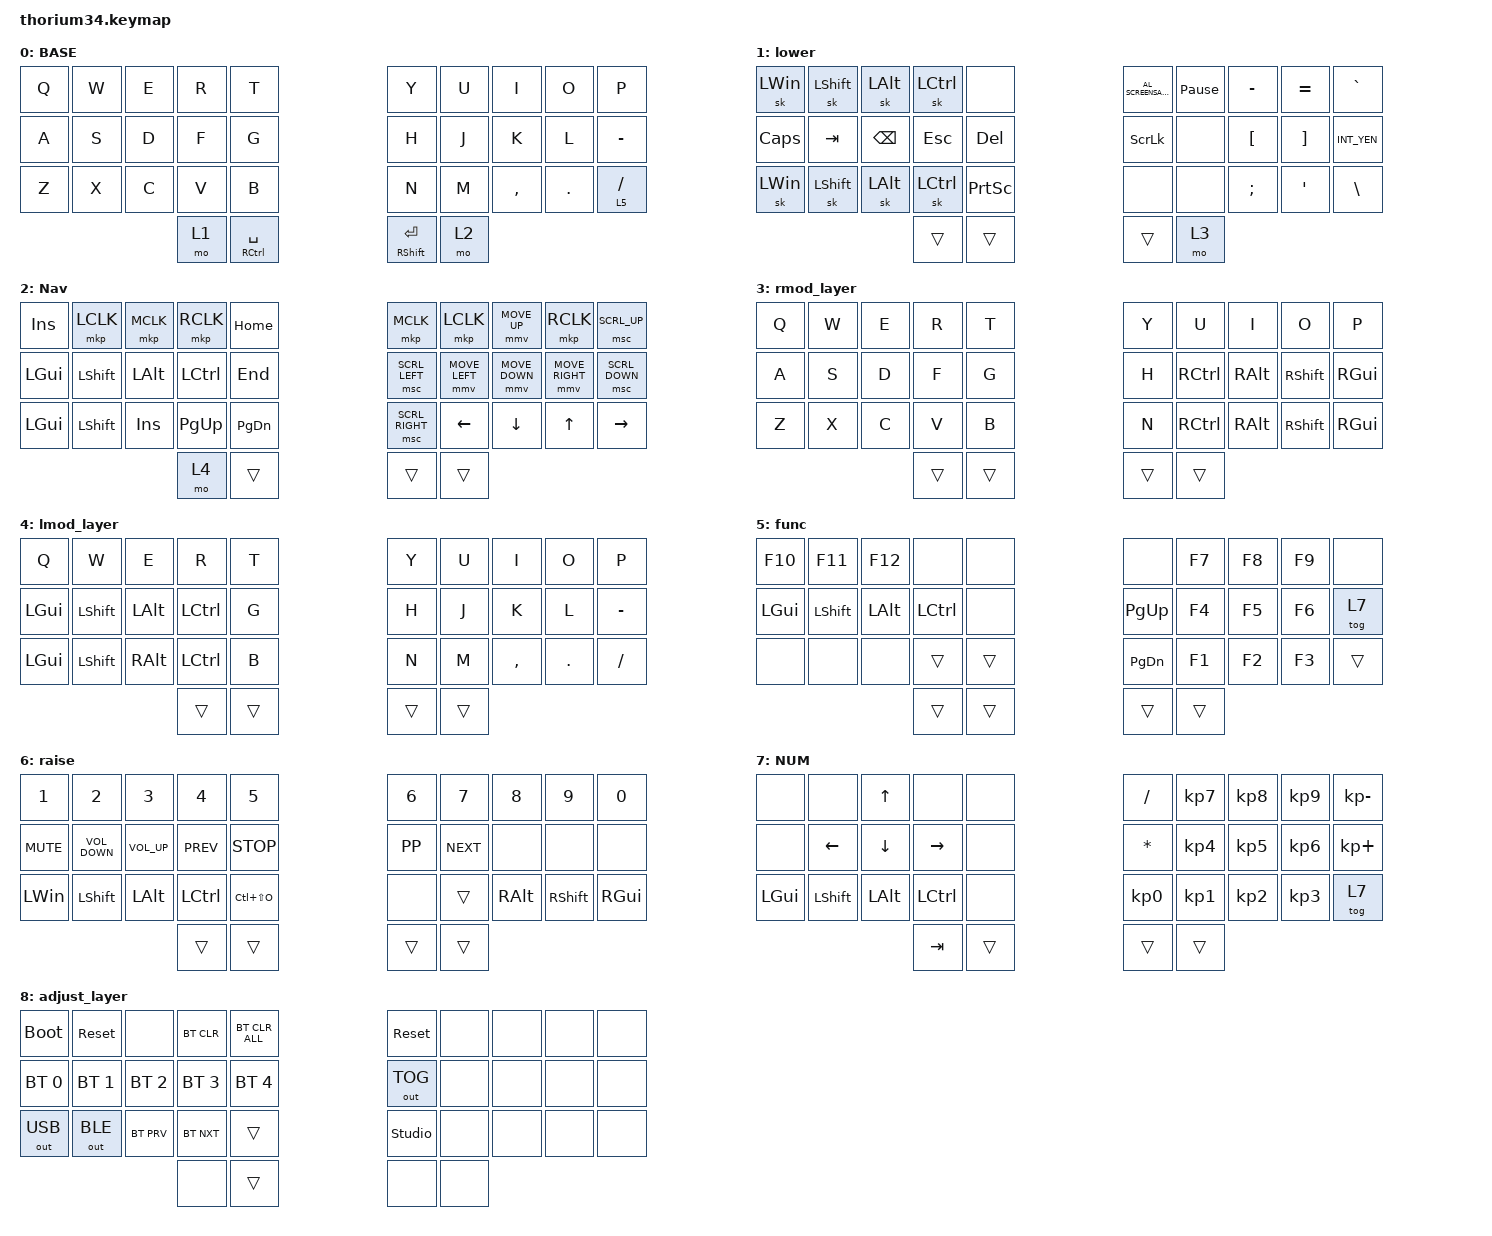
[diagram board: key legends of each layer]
#include <dt-bindings/zmk/mouse.h>
#include <behaviors/rgbled_widget.dtsi>
#include <behaviors.dtsi>
#include <dt-bindings/zmk/bt.h>
#include <dt-bindings/zmk/keys.h>
#include <dt-bindings/zmk/outputs.h>
#include <dt-bindings/zmk/pointing.h>

&mt {
    quick-tap-ms = <175>;
    require-prior-idle-ms = <125>;
    flavor = "tap-preferred";
    tapping-term-ms = <300>;
};

/ {
    combos {
        compatible = "zmk,combos";

        combo_esc {
            timeout-ms = <50>;
            key-positions = <0 1>;
            bindings = <&kp ESC>;
        };

        back {
            bindings = <&kp BACKSPACE>;
            key-positions = <8 9>;
            timeout-ms = <50>;
        };

        ZenHan {
            bindings = <&kp LC(SPACE)>;
            key-positions = <12 13>;
            timeout-ms = <50>;
        };

        Num-Dot-Combo {
            bindings = <&kp DOT>;
            key-positions = <27 28>;
            timeout-ms = <20>;
            layers = <7>;
        };

        ndq {
            bindings = <&ndq_id_macro>;
            key-positions = <1 2>;
            layers = <1>;
        };

        pc {
            bindings = <&PC_macro>;
            key-positions = <2 3>;
            layers = <1>;
        };

        zaq {
            bindings = <&zaq_macro>;
            key-positions = <4 3>;
            layers = <1>;
        };

        sysop {
            bindings = <&sysop_macro>;
            key-positions = <1 3>;
            layers = <1>;
        };

        LayerRise {
            bindings = <&mo 6>;
            key-positions = <33 26>;
            layers = <0>;
        };

        LayerFun {
            bindings = <&mo 5>;
            key-positions = <30 23>;
            layers = <0>;
        };

        LayerADJUST {
            bindings = <&mo 8>;
            key-positions = <31 24>;
            layers = <0>;
        };
    };

    macros {
        zaq_macro: zaq_macro {
            compatible = "zmk,behavior-macro";
            #binding-cells = <0>;
            bindings = <&kp Z &kp A &kp Q &kp N1 &kp DQT &kp LS(W) &kp LS(S) &kp LS(X)>;
            label = "ZAQ_MACRO";
        };

        ndq_id_macro: nsq_id_macro {
            compatible = "zmk,behavior-macro";
            #binding-cells = <0>;
            bindings = <&kp N4 &kp N4 &kp N5 &kp N6 &kp N3 &kp N6 &kp N0>;
            label = "NSQ_ID_MACRO";
        };

        PC_macro: PC_macro {
            compatible = "zmk,behavior-macro";
            #binding-cells = <0>;
            bindings = <&kp A &kp S &kp D &kp F &kp SEMI &kp L &kp K &kp J>;
            label = "PC_MACRO";
        };

        sysop_macro: sysop_macro {
            compatible = "zmk,behavior-macro";
            #binding-cells = <0>;
            bindings = <&kp S &kp Y &kp S &kp O &kp P &kp N0 &kp N0 &kp N0>;
            label = "SYSOP_MACRO";
        };
    };

    keymap {
        compatible = "zmk,keymap";

        base_layer {
            display-name = "BASE";
            bindings = <
&kp Q  &kp W  &kp E  &kp R  &kp T            &kp Y                  &kp U  &kp I      &kp O    &kp P
&kp A  &kp S  &kp D  &kp F  &kp G            &kp H                  &kp J  &kp K      &kp L    &kp MINUS
&kp Z  &kp X  &kp C  &kp V  &kp B            &kp N                  &kp M  &kp COMMA  &kp DOT  &lt 5 SLASH
                     &mo 1  &mt RCTRL SPACE  &mt RIGHT_SHIFT ENTER  &mo 2
            >;
        };

        lower_layer {
            display-name = "lower";
            bindings = <
&sk LWIN      &sk LSHIFT  &sk LEFT_ALT   &sk LCTRL   &none            &kp C_AL_SCREENSAVER  &kp PAUSE_BREAK  &kp MINUS         &kp EQUAL          &kp GRAVE
&kp CAPSLOCK  &kp TAB     &kp BACKSPACE  &kp ESCAPE  &kp DELETE       &kp SCROLLLOCK        &none            &kp LEFT_BRACKET  &kp RIGHT_BRACKET  &kp INT_YEN
&sk LWIN      &sk LSHFT   &sk LEFT_ALT   &sk LCTRL   &kp PRINTSCREEN  &none                 &none            &kp SEMICOLON     &kp SQT            &kp BACKSLASH
                                         &trans      &trans           &trans                &mo 3
            >;
        };

        nav_layer {
            display-name = "Nav";
            bindings = <
&kp INSERT    &mkp LCLK       &mkp MCLK     &mkp RCLK  &kp HOME       &mkp MCLK        &mkp LCLK       &mmv MOVE_UP    &mkp RCLK        &msc SCRL_UP
&kp LEFT_GUI  &kp LEFT_SHIFT  &kp LEFT_ALT  &kp LCTRL  &kp END        &msc SCRL_LEFT   &mmv MOVE_LEFT  &mmv MOVE_DOWN  &mmv MOVE_RIGHT  &msc SCRL_DOWN
&kp LEFT_GUI  &kp LEFT_SHIFT  &kp INSERT    &kp PG_UP  &kp PAGE_DOWN  &msc SCRL_RIGHT  &kp LEFT        &kp DOWN        &kp UP           &kp RIGHT
                                            &mo 4      &trans         &trans           &trans
            >;
        };

        rmod_layer {
            bindings = <
&kp Q  &kp W  &kp E  &kp R   &kp T   &kp Y   &kp U      &kp I          &kp O      &kp P
&kp A  &kp S  &kp D  &kp F   &kp G   &kp H   &kp RCTRL  &kp RIGHT_ALT  &kp RSHFT  &kp RIGHT_GUI
&kp Z  &kp X  &kp C  &kp V   &kp B   &kp N   &kp RCTRL  &kp RIGHT_ALT  &kp RSHFT  &kp RIGHT_GUI
                     &trans  &trans  &trans  &trans
            >;
        };

        lmod_layer {
            bindings = <
&kp Q         &kp W           &kp E          &kp R      &kp T   &kp Y   &kp U   &kp I      &kp O       &kp P
&kp LEFT_GUI  &kp LEFT_SHIFT  &kp LALT       &kp LCTRL  &kp G   &kp H   &kp J   &kp K      &kp L       &kp MINUS
&kp LEFT_GUI  &kp LEFT_SHIFT  &kp RIGHT_ALT  &kp LCTRL  &kp B   &kp N   &kp M   &kp COMMA  &kp PERIOD  &kp SLASH
                                             &trans     &trans  &trans  &trans
            >;
        };

        func_layer {
            display-name = "func";
            bindings = <
&kp F10       &kp F11         &kp F12       &none      &none   &none          &kp F7  &kp F8  &kp F9  &none
&kp LEFT_GUI  &kp LEFT_SHIFT  &kp LEFT_ALT  &kp LCTRL  &none   &kp PAGE_UP    &kp F4  &kp F5  &kp F6  &tog 7
&none         &none           &none         &trans     &trans  &kp PAGE_DOWN  &kp F1  &kp F2  &kp F3  &trans
                                            &trans     &trans  &trans         &trans
            >;
        };

        raise_layer {
            display-name = "raise";
            bindings = <
&kp NUMBER_1  &kp NUMBER_2       &kp NUMBER_3  &kp NUMBER_4  &kp NUMBER_5   &kp NUMBER_6  &kp NUMBER_7  &kp NUMBER_8  &kp NUMBER_9  &kp NUMBER_0
&kp K_MUTE    &kp C_VOLUME_DOWN  &kp C_VOL_UP  &kp K_PREV    &kp K_STOP     &kp K_PP      &kp K_NEXT    &none         &none         &none
&kp LWIN      &kp LEFT_SHIFT     &kp LEFT_ALT  &kp LCTRL     &kp LC(LS(O))  &none         &trans        &kp RALT      &kp RSHFT     &kp RIGHT_GUI
                                               &trans        &trans         &trans        &trans
            >;
        };

        num_layer {
            display-name = "NUM";
            bindings = <
&none         &none           &kp UP_ARROW    &none            &none   &kp SLASH     &kp KP_N7  &kp KP_N8  &kp KP_N9  &kp KP_MINUS
&none         &kp LEFT_ARROW  &kp DOWN_ARROW  &kp RIGHT_ARROW  &none   &kp ASTERISK  &kp KP_N4  &kp KP_N5  &kp KP_N6  &kp KP_PLUS
&kp LEFT_GUI  &kp LEFT_SHIFT  &kp LEFT_ALT    &kp LCTRL        &none   &kp KP_N0     &kp KP_N1  &kp KP_N2  &kp KP_N3  &tog 7
                                              &kp TAB          &trans  &trans        &trans
            >;
        };

        adjust_layer {
            bindings = <
&bootloader   &sys_reset    &none         &bt BT_CLR    &bt BT_CLR_ALL  &sys_reset      &none  &none  &none  &none
&bt BT_SEL 0  &bt BT_SEL 1  &bt BT_SEL 2  &bt BT_SEL 3  &bt BT_SEL 4    &out OUT_TOG    &none  &none  &none  &none
&out OUT_USB  &out OUT_BLE  &bt BT_PRV    &bt BT_NXT    &trans          &studio_unlock  &none  &none  &none  &none
                                          &none         &trans          &none           &none
            >;
        };
    };
};
